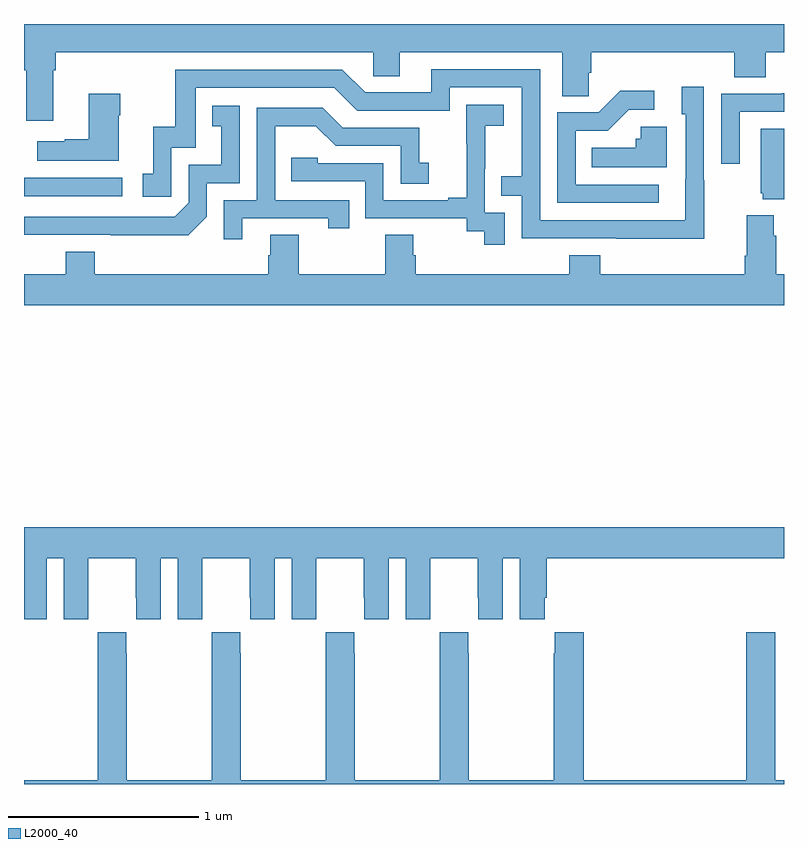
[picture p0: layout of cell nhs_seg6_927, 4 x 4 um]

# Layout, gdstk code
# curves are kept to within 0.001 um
import gdstk
lib = gdstk.Library(unit=1e-6, precision=1e-09)
def R(c, l, rs):  # rectangles x0, y0, x1, y1
    for r in rs: c.add(gdstk.rectangle(r[:2], r[2:], *l))
def P(c, l, *ps):  # polygons
    for p in ps: c.add(gdstk.Polygon(p, *l))
L2000_40 = (2000, 40)

nhs_seg6_927 = lib.new_cell('nhs_seg6_927')
R(nhs_seg6_927, L2000_40, [(169,930.594,169.516,930.69)])
P(nhs_seg6_927, L2000_40, [(169.153,931.256),(169.166,931.256),(169.166,931.352),(170.838,931.352),(170.838,931.225),(170.977,931.225),(170.977,931.352),(171.833,931.352),(171.833,931.12),(171.972,931.12),(171.972,931.243),(171.986,931.243),(171.986,931.352),(172.739,931.352),(172.739,931.219),(172.904,931.219),(172.904,931.352),(173,931.352),(173,931.5),(169,931.5),(169,931.352),(169.001,931.352),(169.001,931.256),(169.013,931.256),(169.013,930.99),(169.153,930.99)],
  [(172.581,930.677),(172.578,930.677),(172.578,931.171),(172.463,931.171),(172.463,931.026),(172.482,931.026),(172.481,930.468),(171.717,930.468),(171.717,931.263),(171.143,931.263),(171.143,931.14),(170.796,931.14),(170.676,931.26),(169.797,931.26),(169.797,930.958),(169.679,930.958),(169.679,930.711),(169.626,930.711),(169.626,930.591),(169.776,930.591),(169.776,930.849),(169.905,930.849),(169.905,931.164),(170.634,931.164),(170.754,931.044),(171.24,931.044),(171.24,931.167),(171.621,931.167),(171.621,930.698),(171.511,930.698),(171.511,930.597),(171.621,930.597),(171.621,930.372),(172.581,930.371)],
  [(172.342,930.654),(171.903,930.654),(171.903,930.939),(172.072,930.939),(172.183,931.05),(172.318,931.05),(172.318,931.148),(172.139,931.148),(172.026,931.035),(171.807,931.035),(171.807,930.558),(172.342,930.558)],
  [(172.767,931.038),(173,931.038),(173,931.136),(172.987,931.136),(172.987,931.134),(172.671,931.134),(172.671,930.765),(172.767,930.765)],
  [(169.498,931.019),(169.506,931.019),(169.506,931.132),(169.34,931.132),(169.34,930.893),(169.214,930.893),(169.214,930.883),(169.071,930.883),(169.071,930.779),(169.498,930.779)],
  [(171.531,930.507),(171.426,930.507),(171.426,930.737),(171.428,930.737),(171.428,930.965),(171.526,930.965),(171.526,931.075),(171.328,931.075),(171.328,930.869),(171.329,930.869),(171.329,930.586),(171.233,930.586),(171.233,930.573),(170.892,930.573),(170.892,930.768),(170.547,930.768),(170.547,930.795),(170.407,930.795),(170.407,930.672),(170.796,930.672),(170.796,930.477),(171.33,930.477),(171.33,930.409),(171.423,930.409),(171.423,930.339),(171.531,930.339)],
  [(169.962,930.486),(169.962,930.663),(170.136,930.663),(170.136,931.069),(169.99,931.069),(169.99,930.963),(170.039,930.963),(170.039,930.759),(169.866,930.759),(169.866,930.558),(169.794,930.486),(169,930.486),(169,930.39),(169.864,930.389)],
  [(170.149,930.477),(170.6,930.477),(170.6,930.426),(170.711,930.426),(170.711,930.573),(170.322,930.573),(170.322,930.962),(170.536,930.962),(170.64,930.858),(170.982,930.858),(170.982,930.66),(171.13,930.66),(171.13,930.769),(171.081,930.769),(171.081,930.954),(170.677,930.954),(170.572,931.059),(170.226,931.059),(170.226,930.573),(170.052,930.573),(170.052,930.366),(170.149,930.366)],
  [(172.384,930.958),(172.245,930.958),(172.245,930.897),(172.219,930.897),(172.219,930.85),(171.988,930.85),(171.988,930.746),(172.384,930.746)],
  [(173,930.949),(172.877,930.949),(172.877,930.609),(172.889,930.609),(172.889,930.578),(173,930.578)],
  [(173,930.184),(172.958,930.184),(172.958,930.386),(172.945,930.386),(172.945,930.493),(172.805,930.493),(172.805,930.28),(172.793,930.28),(172.793,930.184),(172.034,930.184),(172.034,930.283),(171.869,930.283),(171.869,930.184),(171.062,930.184),(171.062,930.282),(171.049,930.282),(171.049,930.392),(170.902,930.392),(170.902,930.184),(170.445,930.184),(170.445,930.392),(170.297,930.392),(170.297,930.282),(170.285,930.282),(170.285,930.184),(169.373,930.184),(169.373,930.301),(169.22,930.301),(169.22,930.184),(169,930.184),(169,930.02),(173,930.02)],
  [(169,928.368),(169.12,928.368),(169.12,928.688),(169.208,928.688),(169.208,928.368),(169.338,928.368),(169.338,928.48),(169.339,928.48),(169.339,928.688),(169.589,928.688),(169.589,928.48),(169.59,928.48),(169.59,928.368),(169.72,928.368),(169.72,928.688),(169.808,928.688),(169.808,928.368),(169.938,928.368),(169.938,928.48),(169.939,928.48),(169.939,928.688),(170.189,928.688),(170.189,928.48),(170.19,928.48),(170.19,928.368),(170.32,928.368),(170.32,928.688),(170.408,928.688),(170.408,928.368),(170.538,928.368),(170.538,928.48),(170.539,928.48),(170.539,928.688),(170.789,928.688),(170.789,928.48),(170.79,928.48),(170.79,928.368),(170.92,928.368),(170.92,928.688),(171.008,928.688),(171.008,928.368),(171.138,928.368),(171.138,928.48),(171.139,928.48),(171.139,928.688),(171.389,928.688),(171.389,928.48),(171.39,928.48),(171.39,928.368),(171.52,928.368),(171.52,928.688),(171.608,928.688),(171.608,928.368),(171.742,928.368),(171.742,928.48),(171.752,928.48),(171.752,928.688),(173,928.688),(173,928.852),(169,928.852)],
  [(173,927.52),(172.954,927.52),(172.954,928.299),(172.802,928.299),(172.802,927.52),(171.947,927.52),(171.947,928.3),(171.793,928.3),(171.793,928.187),(171.787,928.187),(171.787,927.52),(171.342,927.52),(171.342,928.187),(171.339,928.187),(171.339,928.3),(171.189,928.3),(171.189,928.187),(171.187,928.187),(171.187,927.52),(170.742,927.52),(170.742,928.187),(170.739,928.187),(170.739,928.3),(170.589,928.3),(170.589,928.187),(170.587,928.187),(170.587,927.52),(170.142,927.52),(170.142,928.187),(170.139,928.187),(170.139,928.3),(169.989,928.3),(169.989,928.187),(169.987,928.187),(169.987,927.52),(169.542,927.52),(169.542,928.187),(169.539,928.187),(169.539,928.3),(169.389,928.3),(169.389,928.187),(169.387,928.187),(169.387,927.52),(169,927.52),(169,927.5),(173,927.5)])

lib.write_gds('nhs_seg6_927.gds')
